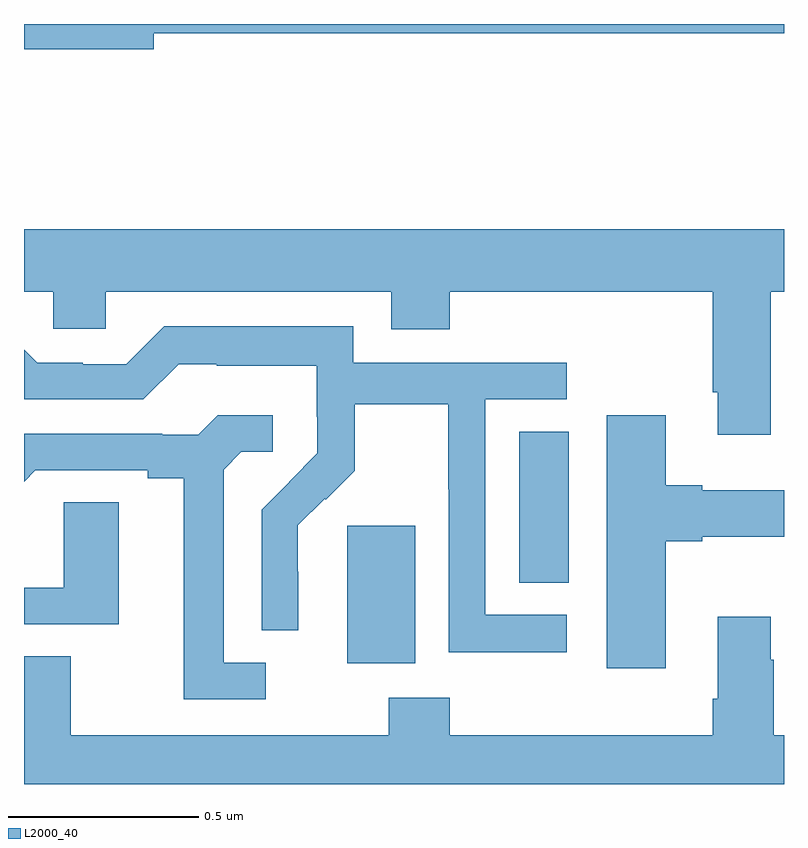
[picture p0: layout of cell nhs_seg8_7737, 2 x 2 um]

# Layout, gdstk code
import gdstk
lib = gdstk.Library(unit=1e-6, precision=1e-09)
def R(c, l, rs):  # rectangles x0, y0, x1, y1
    for r in rs: c.add(gdstk.rectangle(r[:2], r[2:], *l))
def P(c, l, *ps):  # polygons
    for p in ps: c.add(gdstk.Polygon(p, *l))
L2000_40 = (2000, 40)

nhs_seg8_7737 = lib.new_cell('nhs_seg8_7737')
R(nhs_seg8_7737, L2000_40, [(214.85,1086.218,215.029,1086.579), (215.303,1086.43,215.434,1086.827)])
P(nhs_seg8_7737, L2000_40, [(214.342,1087.876),(216,1087.876),(216,1087.9),(214,1087.9),(214,1087.834),(214.342,1087.834)],
  [(215.965,1087.196),(216,1087.196),(216,1087.36),(214,1087.36),(214,1087.196),(214.077,1087.196),(214.077,1087.098),(214.215,1087.098),(214.215,1087.196),(214.967,1087.196),(214.967,1087.097),(215.12,1087.097),(215.12,1087.196),(215.813,1087.196),(215.813,1086.931),(215.825,1086.931),(215.825,1086.819),(215.965,1086.819)],
  [(215.428,1086.345),(215.214,1086.345),(215.214,1086.912),(215.428,1086.912),(215.428,1087.008),(214.866,1087.008),(214.866,1087.105),(214.369,1087.105),(214.269,1087.005),(214.154,1087.005),(214.154,1087.008),(214.035,1087.008),(214,1087.043),(214,1086.912),(214.314,1086.912),(214.407,1087.005),(214.507,1087.005),(214.507,1087.001),(214.77,1087.001),(214.77,1086.867),(214.772,1086.867),(214.772,1086.77),(214.698,1086.696),(214.699,1086.695),(214.626,1086.622),(214.626,1086.304),(214.722,1086.304),(214.722,1086.458),(214.721,1086.458),(214.721,1086.581),(214.791,1086.651),(214.794,1086.648),(214.871,1086.725),(214.871,1086.9),(215.116,1086.9),(215.116,1086.676),(215.118,1086.676),(215.118,1086.247),(215.428,1086.247)],
  [(215.689,1086.539),(215.785,1086.539),(215.785,1086.551),(216,1086.551),(216,1086.673),(215.785,1086.673),(215.785,1086.686),(215.689,1086.686),(215.689,1086.871),(215.534,1086.871),(215.534,1086.204),(215.689,1086.204)],
  [(214.636,1086.219),(214.525,1086.219),(214.525,1086.727),(214.572,1086.774),(214.654,1086.774),(214.654,1086.871),(214.51,1086.871),(214.458,1086.819),(214.364,1086.819),(214.364,1086.822),(214,1086.822),(214,1086.696),(214.03,1086.726),(214.325,1086.726),(214.325,1086.704),(214.421,1086.704),(214.421,1086.123),(214.636,1086.123)],
  [(214.249,1086.641),(214.104,1086.641),(214.104,1086.417),(214,1086.417),(214,1086.321),(214.249,1086.321)],
  [(216,1086.028),(215.973,1086.028),(215.973,1086.227),(215.965,1086.227),(215.965,1086.34),(215.825,1086.34),(215.825,1086.124),(215.813,1086.124),(215.813,1086.028),(215.12,1086.028),(215.12,1086.127),(214.96,1086.127),(214.96,1086.028),(214.123,1086.028),(214.123,1086.236),(214,1086.236),(214,1085.9),(216,1085.9)])

lib.write_gds('nhs_seg8_7737.gds')
